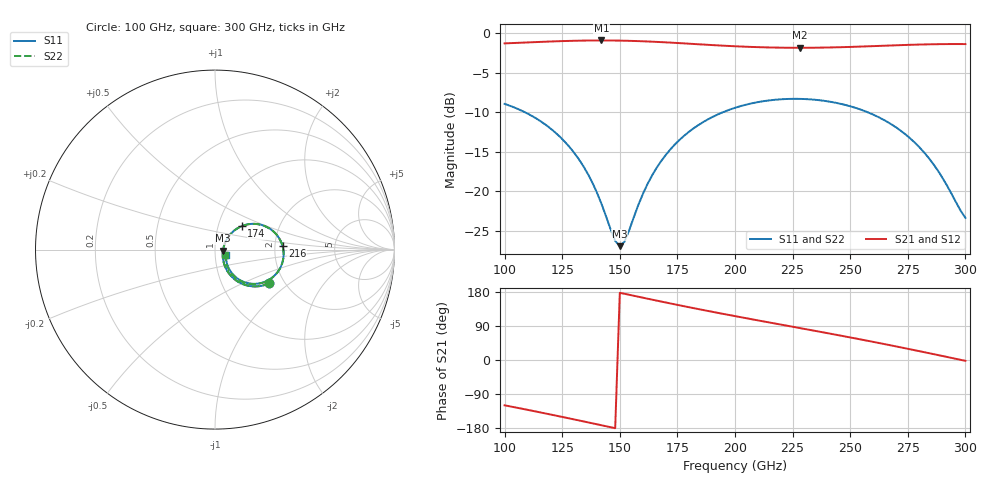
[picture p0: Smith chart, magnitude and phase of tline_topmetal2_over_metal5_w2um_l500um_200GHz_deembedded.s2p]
! Created with skrf 2.2.0 (http://scikit-rf.org).
# GHz S DB R 50.0
! Port[1] = P1
! Port[2] = P2
!freq dBS11 angS11 dBS21 angS21 dBS12 angS12 dBS22 angS22
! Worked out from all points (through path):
!   101 points, 100 GHz to 300 GHz, reference 50 ohm
!   highest |S21| = -0.94 dB at 142 GHz (marker M1); lowest = -1.9 dB at 228 GHz (marker M2)
!   group delay of S21, straight-line fit = 3.33 ps
!   lowest |S11| = -27.0 dB at 150 GHz (marker M3), VSWR 1.09, Z = 54.6 - j0.71 ohm
!   |S11| at or under -10 dB: 108.7 GHz to 194.9 GHz (86.21 GHz wide, 56.8 % of centre); 257.4 GHz to end of sweep
!   |S22| runs from -27.0 to -8.3 dB; largest |S21 - S12| = 8.5e-16
!   S11 on the Smith chart (normalised r, x): 100 GHz: 1.68, -0.72; 174 GHz: 1.30, +0.35; 216 GHz: 2.20, +0.10; 300 GHz: 1.13, -0.07
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100  -8.96 -31.6  -1.31 -119.6  -1.31 -119.6  -8.96 -31.7
110  -10.19 -41.5  -1.19 -131.6  -1.19 -131.6  -10.19 -41.6
120  -12.09 -50.9  -1.07 -143.9  -1.07 -143.9  -12.09 -50.9
128  -14.36 -57.1  -1.00 -154.0  -1.00 -154.0  -14.35 -57.2
134  -16.75 -59.9  -0.96 -161.8  -0.96 -161.8  -16.75 -60.0
142  -21.56 -55.1  -0.94 -172.2  -0.94 -172.2  -21.56 -55.2
148  -26.29 -27.0  -0.95 -180.0  -0.95 -180.0  -26.32 -27.1
150  -26.95 -8.3  -0.96 177.4  -0.96 177.4  -26.99 -8.4
152  -26.40 10.6  -0.97 174.8  -0.97 174.8  -26.44 10.6
162  -19.11 44.4  -1.07 161.9  -1.07 161.9  -19.12 44.5
168  -16.17 44.5  -1.15 154.2  -1.15 154.2  -16.18 44.5
174  -14.06 41.3  -1.24 146.7  -1.24 146.7  -14.07 41.3
186  -11.29 31.6  -1.45 132.1  -1.45 132.1  -11.29 31.5
200  -9.46 18.5  -1.67 115.8  -1.67 115.8  -9.46 18.4
216  -8.48 3.1  -1.83 97.8  -1.83 97.8  -8.48 3.0
228  -8.33 -8.4  -1.87 84.4  -1.87 84.4  -8.33 -8.5
234  -8.42 -14.1  -1.86 77.7  -1.86 77.7  -8.42 -14.3
252  -9.43 -31.1  -1.74 57.2  -1.74 57.2  -9.44 -31.3
268  -11.57 -45.2  -1.57 38.2  -1.57 38.2  -11.58 -45.6
284  -15.77 -54.3  -1.43 18.3  -1.43 18.3  -15.81 -55.1
290  -18.29 -52.8  -1.40 10.6  -1.40 10.6  -18.37 -53.9
300  -23.38 -26.4  -1.40 -2.2  -1.40 -2.2  -23.71 -27.4
